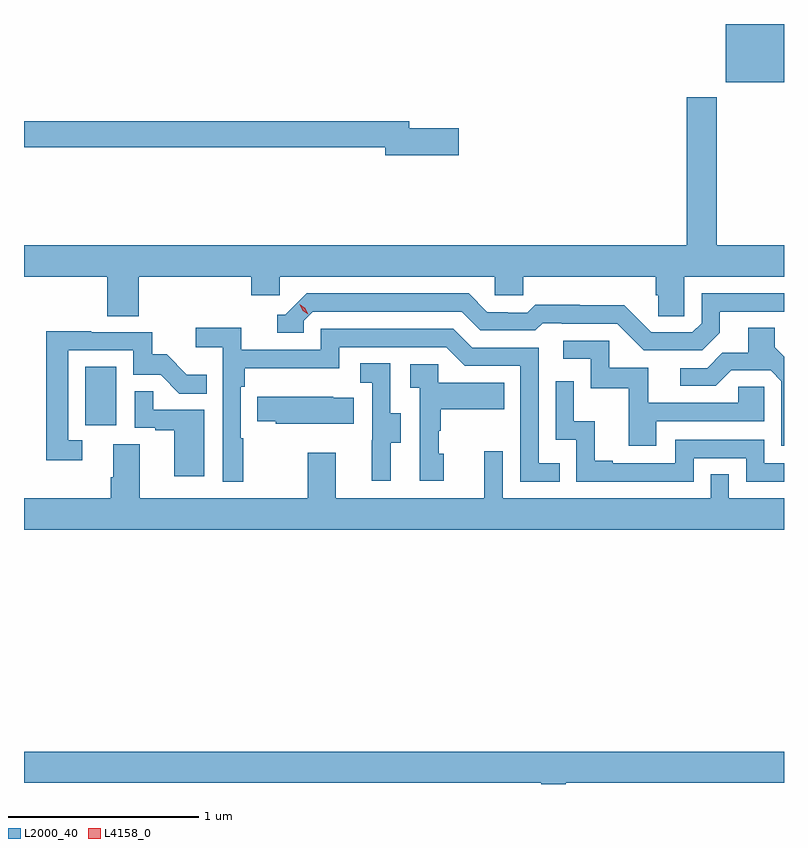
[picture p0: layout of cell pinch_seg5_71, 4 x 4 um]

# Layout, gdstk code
import gdstk
lib = gdstk.Library(unit=1e-6, precision=1e-09)
def R(c, l, rs):  # rectangles x0, y0, x1, y1
    for r in rs: c.add(gdstk.rectangle(r[:2], r[2:], *l))
def P(c, l, *ps):  # polygons
    for p in ps: c.add(gdstk.Polygon(p, *l))
L2000_40 = (2000, 40)
L4158_0 = (4158, 0)

pinch_seg5_71 = lib.new_cell('pinch_seg5_71')
R(pinch_seg5_71, L2000_40, [(1053.32,894.606,1053.484,894.913), (1056.692,896.411,1056.998,896.717)])
P(pinch_seg5_71, L2000_40, [(1053.602,895.388),(1054.193,895.388),(1054.193,895.29),(1054.344,895.29),(1054.344,895.388),(1055.475,895.388),(1055.475,895.29),(1055.625,895.29),(1055.625,895.388),(1056.323,895.388),(1056.323,895.29),(1056.337,895.29),(1056.337,895.18),(1056.474,895.18),(1056.474,895.388),(1056.998,895.388),(1056.998,895.552),(1056.645,895.552),(1056.645,896.332),(1056.485,896.332),(1056.485,895.552),(1052.998,895.552),(1052.998,895.388),(1053.437,895.388),(1053.437,895.18),(1053.602,895.18)],
  [(1055.287,896.168),(1055.026,896.168),(1055.026,896.204),(1052.998,896.204),(1052.998,896.068),(1054.898,896.068),(1054.898,896.026),(1055.287,896.026)],
  [(1056.661,895.093),(1056.661,895.203),(1056.998,895.203),(1056.998,895.299),(1056.564,895.299),(1056.564,895.143),(1056.516,895.095),(1056.3,895.095),(1056.158,895.237),(1055.922,895.237),(1055.922,895.24),(1055.689,895.24),(1055.647,895.197),(1055.544,895.197),(1055.544,895.2),(1055.437,895.2),(1055.338,895.299),(1054.485,895.299),(1054.374,895.188),(1054.331,895.188),(1054.331,895.092),(1054.47,895.092),(1054.47,895.155),(1054.518,895.203),(1055.301,895.203),(1055.4,895.104),(1055.689,895.104),(1055.728,895.143),(1055.827,895.143),(1055.827,895.14),(1056.12,895.14),(1056.261,894.999),(1056.567,894.999)],
  [(1056.998,894.967),(1056.949,895.016),(1056.949,895.118),(1056.809,895.118),(1056.809,894.986),(1056.674,894.986),(1056.594,894.906),(1056.453,894.906),(1056.453,894.813),(1056.64,894.813),(1056.721,894.894),(1056.927,894.894),(1056.984,894.837),(1056.984,894.498),(1056.998,894.498)],
  [(1054.153,894.536),(1054.14,894.536),(1054.14,894.809),(1054.16,894.809),(1054.16,894.905),(1054.656,894.905),(1054.656,895.017),(1055.22,895.017),(1055.319,894.918),(1055.61,894.918),(1055.61,894.309),(1055.819,894.309),(1055.819,894.405),(1055.706,894.405),(1055.706,895.014),(1055.356,895.014),(1055.257,895.113),(1054.56,895.113),(1054.56,895.002),(1054.142,895.002),(1054.142,895.118),(1053.903,895.118),(1053.903,895.016),(1054.044,895.016),(1054.044,894.309),(1054.153,894.309)],
  [(1053.304,894.525),(1053.231,894.525),(1053.231,894.999),(1053.573,894.999),(1053.573,894.87),(1053.717,894.87),(1053.815,894.772),(1053.959,894.772),(1053.959,894.871),(1053.855,894.871),(1053.748,894.978),(1053.672,894.978),(1053.672,895.095),(1053.353,895.095),(1053.353,895.1),(1053.115,895.1),(1053.115,894.42),(1053.304,894.42)],
  [(1056.325,894.627),(1056.894,894.627),(1056.894,894.807),(1056.757,894.807),(1056.757,894.723),(1056.283,894.723),(1056.283,894.909),(1056.078,894.909),(1056.078,895.05),(1055.835,895.05),(1055.835,894.954),(1055.982,894.954),(1055.982,894.801),(1056.181,894.801),(1056.181,894.498),(1056.325,894.498)],
  [(1054.927,894.514),(1054.981,894.514),(1054.981,894.669),(1054.926,894.669),(1054.926,894.932),(1054.767,894.932),(1054.767,894.829),(1054.83,894.829),(1054.83,894.525),(1054.829,894.525),(1054.829,894.312),(1054.927,894.312)],
  [(1055.206,894.456),(1055.181,894.456),(1055.181,894.575),(1055.191,894.575),(1055.191,894.689),(1055.525,894.689),(1055.525,894.829),(1055.178,894.829),(1055.178,894.927),(1055.031,894.927),(1055.031,894.803),(1055.082,894.803),(1055.082,894.312),(1055.206,894.312)],
  [(1056.522,894.432),(1056.798,894.432),(1056.798,894.309),(1056.998,894.309),(1056.998,894.405),(1056.894,894.405),(1056.894,894.528),(1056.426,894.528),(1056.426,894.405),(1056.097,894.405),(1056.097,894.418),(1056.002,894.418),(1056.002,894.626),(1055.892,894.626),(1055.892,894.838),(1055.796,894.838),(1055.796,894.528),(1055.904,894.528),(1055.904,894.309),(1056.522,894.309)],
  [(1053.946,894.687),(1053.677,894.687),(1053.677,894.785),(1053.582,894.785),(1053.582,894.591),(1053.689,894.591),(1053.689,894.579),(1053.788,894.579),(1053.788,894.336),(1053.946,894.336)],
  [(1054.733,894.751),(1054.625,894.751),(1054.625,894.754),(1054.225,894.754),(1054.225,894.625),(1054.323,894.625),(1054.323,894.614),(1054.733,894.614)],
  [(1056.998,894.22),(1056.708,894.22),(1056.708,894.347),(1056.612,894.347),(1056.612,894.22),(1055.517,894.22),(1055.517,894.469),(1055.42,894.469),(1055.42,894.22),(1054.639,894.22),(1054.639,894.46),(1054.492,894.46),(1054.492,894.22),(1053.607,894.22),(1053.607,894.506),(1053.467,894.506),(1053.467,894.332),(1053.455,894.332),(1053.455,894.22),(1052.998,894.22),(1052.998,894.056),(1056.998,894.056)],
  [(1055.849,892.724),(1056.998,892.724),(1056.998,892.888),(1052.998,892.888),(1052.998,892.724),(1055.721,892.724),(1055.721,892.717),(1055.849,892.717)])
P(pinch_seg5_71, L4158_0, [(1054.494,895.189),(1054.464,895.209),(1054.448,895.242),(1054.448,895.242),(1054.448,895.242),(1054.479,895.222),(1054.494,895.189),(1054.494,895.189)])

lib.write_gds('pinch_seg5_71.gds')
